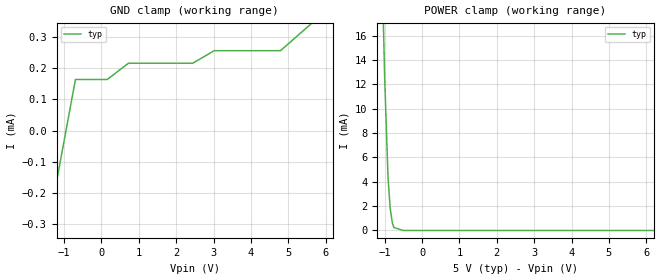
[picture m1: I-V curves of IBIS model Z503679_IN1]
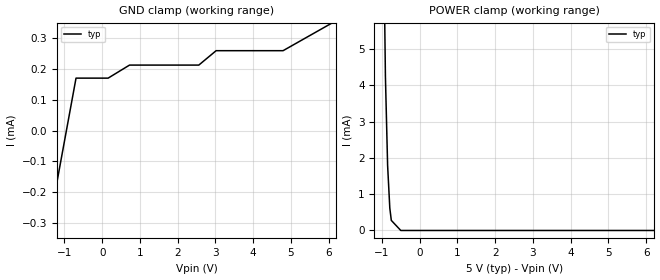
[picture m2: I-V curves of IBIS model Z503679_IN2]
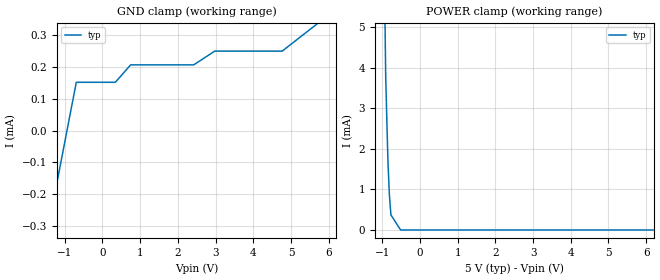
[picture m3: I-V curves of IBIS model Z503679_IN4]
| YOU ARE ONLY AUTHORIZED TO USE THIS SOFTWARE
| ACCORDING TO LICENSOR'S LICENSE RESTRICTIONS.
[IBIS Ver] 3.1
[File Name] mc14566bd.ibs
[File Rev] 2.0
[Source] Measured and created by ICX Technology
[Date] Friday 7/14/00 9:07:57 AM
[Copyright]
| (C) COPYRIGHT 1993-2000
| MENTOR GRAPHICS CORPORATION
| ICX STANDARD LIBRARY, ICX PROJECT MODELING,
| ICX CUSTOM MODELING, ICX VENDOR MODEL
| ALL RIGHTS RESERVED.
| THE FOLLOWING ARE TRADEMARKS OR SERVICE MARKS OF
| MENTOR GRAPHICS CORPORATION:ICX (R), ICX STANDARD
| LIBRARY(R), ICX PROJECT MODELING(R), ICX CUSTOM
| MODELING(R), qualityIBIS(TM), MODELVIEWER(TM),
| AND MODELEDITOR(TM)
| ALL COPIES OF SOFTWARE, INCLUDING BUT NOT LIMITED TO
| ANY MODIFICATIONS, ENHANCEMENTS OR DERIVATIVE WORKS,
| MUST CONTAIN ALL MENTOR GRAPHICS CORPORATION'S
| NOTICES AND LEGENDS, INCLUDING THOSE EMBEDDED IN
| SOFTWARE AND THOSE AFFIXED TO SOFTWARE MEDIUM
| AND CONTAINER, AS RECEIVED FROM MENTOR GRAPHICS
| CORPORATION.
|  ZAP Model Builder 2.7
[Component] MC14566BD
[Manufacturer] OnSemiconductor
[Package]
| variable   typ   min   max
R_pkg  .156ohms NA NA
L_pkg  3.148nH NA NA
C_pkg  .388pF NA NA
[Pin] signal_name  model_name  R_pin  L_pin C_pin
1 _CA Z503679_IN1 .162 3.798n .418p
2 RST Z503679_IN2 .158 3.358n .398p
3 Q0A Z503679_OUT3 .154 2.928n .378p
4 Q1A Z503679_OUT3 .15 2.508n .358p
5 Q2A Z503679_OUT3 .15 2.508n .358p
6 Q3A Z503679_OUT3 .154 2.928n .378p
7 _B Z503679_IN4 .158 3.358n .398p
8 VSS POWER .162 3.798n .418p
9 A Z503679_IN4 .162 3.798n .418p
10 QM Z503679_OUT5 .158 3.358n .398p
11 5/6_CRTL Z503679_IN6 .154 2.928n .378p
12 Q0B Z503679_OUT3 .15 2.508n .358p
13 Q1B Z503679_OUT3 .15 2.508n .358p
14 Q2B Z503679_OUT3 .154 2.928n .378p
15 _CB Z503679_IN1 .158 3.358n .398p
16 VDD POWER .162 3.798n .418p
| Models and submodels in the file (6): Z503679_IN1 (Input), Z503679_IN2 (Input), Z503679_IN4 (Input), Z503679_IN6 (Input), Z503679_OUT3 (Output), Z503679_OUT5 (Output)
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| (C) COPYRIGHT 1993-2000
| MENTOR GRAPHICS CORPORATION
| ICX STANDARD LIBRARY, ICX PROJECT MODELING,
| ICX CUSTOM MODELING, ICX VENDOR MODEL
| ALL RIGHTS RESERVED.
| THE FOLLOWING ARE TRADEMARKS OR SERVICE MARKS OF
| MENTOR GRAPHICS CORPORATION:ICX (R), ICX STANDARD
| LIBRARY(R), ICX PROJECT MODELING(R), ICX CUSTOM
| MODELING(R), qualityIBIS(TM), MODELVIEWER(TM),
| AND MODELEDITOR(TM)
| ALL COPIES OF SOFTWARE, INCLUDING BUT NOT LIMITED TO
| ANY MODIFICATIONS, ENHANCEMENTS OR DERIVATIVE WORKS,
| MUST CONTAIN ALL MENTOR GRAPHICS CORPORATION'S
| NOTICES AND LEGENDS, INCLUDING THOSE EMBEDDED IN
| SOFTWARE AND THOSE AFFIXED TO SOFTWARE MEDIUM
| AND CONTAINER, AS RECEIVED FROM MENTOR GRAPHICS
| CORPORATION.
| Model Application Version 1.89 2/18/99.
[Model] Z503679_IN1
Model_type Input
Vinl = 1.500V
Vinh = 3.500V
C_comp 4.000pF NA NA
| variable typ   min   max
[Voltage Range] 5.000V NA NA
[GND Clamp Reference] 0.000V NA NA
[POWER Clamp Reference] 5.000V NA NA
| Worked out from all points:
|   POWER clamp passes 1 mA (typ) near -0.81 V on its own axis
[GND Clamp]
-5V       -2.621mA   NA         NA
-694mV    163.3uA    NA         NA
156.5mV   163.3uA    NA         NA
723.1mV   215.2uA    NA         NA
2.444V    215.2uA    NA         NA
3.018V    255.4uA    NA         NA
4.791V    255.4uA    NA         NA
10V       800.8uA    NA         NA
[POWER Clamp]
-5V       960.3mA    NA         NA
-1.17V    40.66mA    NA         NA
-1.035V   17.34mA    NA         NA
-1V       12.64mA    NA         NA
-908mV    4.304mA    NA         NA
-850mV    1.779mA    NA         NA
-791mV    580.8uA    NA         NA
-751mV    243uA      NA         NA
-500.7mV  0A         NA         NA
10V       0A         NA         NA
| (C) COPYRIGHT 1993-2000
| MENTOR GRAPHICS CORPORATION
| ICX STANDARD LIBRARY, ICX PROJECT MODELING,
| ICX CUSTOM MODELING, ICX VENDOR MODEL
| ALL RIGHTS RESERVED.
| THE FOLLOWING ARE TRADEMARKS OR SERVICE MARKS OF
| MENTOR GRAPHICS CORPORATION:ICX (R), ICX STANDARD
| LIBRARY(R), ICX PROJECT MODELING(R), ICX CUSTOM
| MODELING(R), qualityIBIS(TM), MODELVIEWER(TM),
| AND MODELEDITOR(TM)
| ALL COPIES OF SOFTWARE, INCLUDING BUT NOT LIMITED TO
| ANY MODIFICATIONS, ENHANCEMENTS OR DERIVATIVE WORKS,
| MUST CONTAIN ALL MENTOR GRAPHICS CORPORATION'S
| NOTICES AND LEGENDS, INCLUDING THOSE EMBEDDED IN
| SOFTWARE AND THOSE AFFIXED TO SOFTWARE MEDIUM
| AND CONTAINER, AS RECEIVED FROM MENTOR GRAPHICS
| CORPORATION.
| Model Application Version 1.89 2/18/99.
[Model] Z503679_IN2
Model_type Input
Vinl = 1.500V
Vinh = 3.500V
C_comp 4.000pF NA NA
| variable typ   min   max
[Voltage Range] 5.000V NA NA
[GND Clamp Reference] 0.000V NA NA
[POWER Clamp Reference] 5.000V NA NA
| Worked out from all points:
|   POWER clamp passes 1 mA (typ) near -0.81 V on its own axis
[GND Clamp]
-5V       -2.705mA   NA         NA
-693.5mV  169.9uA    NA         NA
156.5mV   169.9uA    NA         NA
723.2mV   212.2uA    NA         NA
2.559V    212.2uA    NA         NA
3.018V    258.9uA    NA         NA
4.791V    258.9uA    NA         NA
10V       619.7uA    NA         NA
[POWER Clamp]
-5V       816.3mA    NA         NA
-1.191V   39.49mA    NA         NA
-1.054V   18.14mA    NA         NA
-1.001V   11.83mA    NA         NA
-908mV    4.238mA    NA         NA
-850mV    1.792mA    NA         NA
-792mV    616.8uA    NA         NA
-752mV    277.8uA    NA         NA
-501.3mV  0A         NA         NA
10V       0A         NA         NA
| (C) COPYRIGHT 1993-2000
| MENTOR GRAPHICS CORPORATION
| ICX STANDARD LIBRARY, ICX PROJECT MODELING,
| ICX CUSTOM MODELING, ICX VENDOR MODEL
| ALL RIGHTS RESERVED.
| THE FOLLOWING ARE TRADEMARKS OR SERVICE MARKS OF
| MENTOR GRAPHICS CORPORATION:ICX (R), ICX STANDARD
| LIBRARY(R), ICX PROJECT MODELING(R), ICX CUSTOM
| MODELING(R), qualityIBIS(TM), MODELVIEWER(TM),
| AND MODELEDITOR(TM)
| ALL COPIES OF SOFTWARE, INCLUDING BUT NOT LIMITED TO
| ANY MODIFICATIONS, ENHANCEMENTS OR DERIVATIVE WORKS,
| MUST CONTAIN ALL MENTOR GRAPHICS CORPORATION'S
| NOTICES AND LEGENDS, INCLUDING THOSE EMBEDDED IN
| SOFTWARE AND THOSE AFFIXED TO SOFTWARE MEDIUM
| AND CONTAINER, AS RECEIVED FROM MENTOR GRAPHICS
| CORPORATION.
| Model Application Version 1.89 2/18/99.
[Model] Z503679_IN4
Model_type Input
Vinl = 1.500V
Vinh = 3.500V
C_comp 4.000pF NA NA
| variable typ   min   max
[Voltage Range] 5.000V NA NA
[GND Clamp Reference] 0.000V NA NA
[POWER Clamp Reference] 5.000V NA NA
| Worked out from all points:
|   POWER clamp passes 1 mA (typ) near -0.82 V on its own axis
[GND Clamp]
-5V       -2.49mA    NA         NA
-693.5mV  151.3uA    NA         NA
342.2mV   151.3uA    NA         NA
747.7mV   206uA      NA         NA
2.421V    206uA      NA         NA
2.979V    249.1uA    NA         NA
4.768V    249.1uA    NA         NA
10V       732.3uA    NA         NA
[POWER Clamp]
-5V       571.8mA    NA         NA
-1.334V   49.84mA    NA         NA
-1.3V     45.01mA    NA         NA
-1.182V   29.23mA    NA         NA
-1.038V   13.38mA    NA         NA
-908mV    3.774mA    NA         NA
-850mV    1.725mA    NA         NA
-811mV    872.6uA    NA         NA
-770mV    372.5uA    NA         NA
-513.3mV  0A         NA         NA
10V       0A         NA         NA
